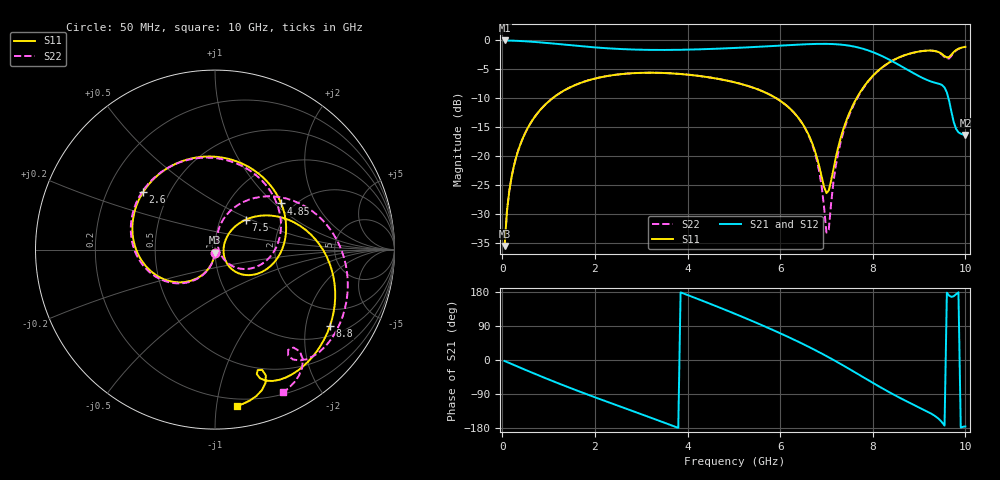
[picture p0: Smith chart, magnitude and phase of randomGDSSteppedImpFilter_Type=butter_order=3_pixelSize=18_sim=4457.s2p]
! freq	dB(S11)	phase(S11)	dB(S12)	phase(S12)
!  dB(S21)	phase(S21)	dB(S22)	phase(S22)
!S-par simulation data
#  GHz  S  DB  R 50
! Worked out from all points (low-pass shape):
!   200 points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, 50 MHz to 10 GHz, reference 50 ohm
!   highest |S21| = 0.00 dB at 50 MHz (marker M1); lowest = -16.4 dB at 10 GHz (marker M2)
!   |S21| within 3 dB of the highest: start of sweep to 8.277 GHz
!   lowest |S11| = -35.6 dB at 50 MHz (marker M3), VSWR 1.03, Z = 49.9 - j1.66 ohm
!   |S11| at or under -10 dB: start of sweep to 1.085 GHz; 5.915 GHz to 7.651 GHz (1.736 GHz wide, 25.6 % of centre)
!   |S22| runs from -35.6 to -1.1 dB; largest |S21 - S12| = 0
!   S11 on the Smith chart (normalised r, x): 50 MHz: 1.00, -0.03; 2.6 GHz: 0.36, +0.31; 4.85 GHz: 1.72, +1.11; 7.5 GHz: 1.32, +0.46; 8.8 GHz: 1.31, -2.74; 10 GHz: 0.15, -1.14
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0.05  -35.57 -92.6  -0.00 -2.7  -0.00 -2.7  -35.58 -92.5
0.2  -23.63 -101.0  -0.04 -10.6  -0.04 -10.6  -23.63 -100.7
0.5  -15.92 -117.1  -0.15 -26.1  -0.15 -26.1  -15.92 -116.2
1.1  -9.90 -147.9  -0.54 -56.2  -0.54 -56.2  -9.90 -145.8
1.75  -7.18 -179.3  -1.04 -87.0  -1.04 -87.0  -7.18 -175.9
2.6  -5.80 141.4  -1.50 -125.2  -1.50 -125.2  -5.80 147.0
3.4  -5.61 104.6  -1.65 -160.9  -1.65 -160.9  -5.61 112.5
4.15  -6.04 69.1  -1.56 164.5  -1.56 164.5  -6.04 79.4
4.85  -6.94 34.9  -1.36 130.6  -1.36 130.6  -6.94 47.2
5.05  -7.31 25.0  -1.29 120.7  -1.29 120.7  -7.30 37.7
5.9  -9.93 -17.6  -0.94 76.1  -0.94 76.1  -9.91 -4.5
6.7  -17.96 -50.0  -0.62 29.6  -0.62 29.6  -18.17 -44.5
6.85  -21.97 -44.7  -0.59 20.1  -0.59 20.1  -22.92 -47.2
7  -26.40 -6.2  -0.59 10.4  -0.59 10.4  -33.26 -7.5
7.25  -18.58 49.0  -0.68 -6.5  -0.68 -6.5  -19.59 80.2
7.5  -12.46 44.3  -0.92 -24.1  -0.92 -24.1  -12.76 68.6
7.95  -6.56 18.6  -1.87 -56.6  -1.87 -56.6  -6.65 38.9
8.35  -3.84 -6.9  -3.30 -84.6  -3.30 -84.6  -3.86 11.9
8.8  -2.28 -33.7  -5.31 -113.2  -5.31 -113.2  -2.27 -16.1
9.5  -2.39 -70.7  -7.74 -165.0  -7.74 -165.0  -2.50 -54.7
9.65  -2.85 -68.6  -10.49 169.8  -10.49 169.8  -3.11 -51.3
10  -1.11 -82.0  -16.36 -175.4  -16.36 -175.4  -1.09 -64.4
